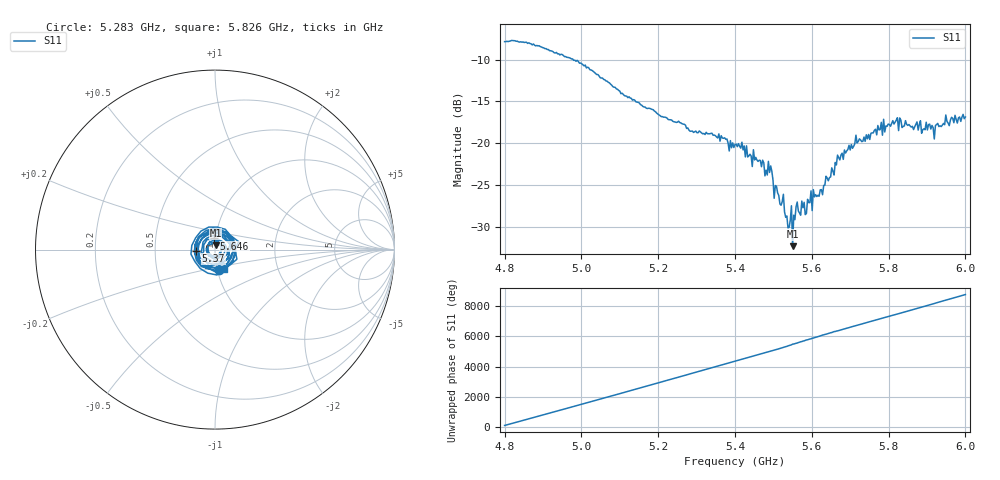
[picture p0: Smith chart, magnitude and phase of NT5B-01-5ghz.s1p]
! NanoVNA-App
! Date: 2026-05-25 01:51:51
! Start: 4.8GHz Stop: 6GHz Points: 401
! S-Parameter data: F S11
# Hz S RI R 50
!  Frequency  S11_Real  S11_Imag
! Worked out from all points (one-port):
!   401 points, 4.8 GHz to 6 GHz, reference 50 ohm
!   lowest |S11| = -32.3 dB at 5.55 GHz (marker M1), VSWR 1.05, Z = 50.2 + j2.41 ohm
!   |S11| at or under -10 dB: 4.979 GHz to end of sweep
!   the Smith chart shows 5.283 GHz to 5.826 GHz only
!   S11 on the Smith chart (normalised r, x): 5.283 GHz: 1.02, -0.24; 5.37 GHz: 0.81, -0.01; 5.646 GHz: 0.98, +0.12; 5.826 GHz: 1.08, -0.24
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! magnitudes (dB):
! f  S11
! 4.8 GHz  -7.8
! 4.86 GHz  -8.1
! 4.95 GHz  -9.4
! 5.004 GHz  -10.6
! 5.1 GHz  -13.8
! 5.25 GHz  -17.5
! 5.283 GHz  -18.6
! 5.37 GHz  -19.4
! 5.4 GHz  -20.2
! 5.493 GHz  -22.7
! 5.505 GHz  -25.1
! 5.529 GHz  -28.2
! 5.535 GHz  -28.7
! 5.541 GHz  -30.1
! 5.544 GHz  -29.2
! 5.55 GHz  -32.3
! 5.556 GHz  -29.2
! 5.559 GHz  -27.6
! 5.589 GHz  -26.7
! 5.604 GHz  -25.6
! 5.622 GHz  -25.6
! 5.646 GHz  -24.1
! 5.673 GHz  -22.0
! 5.7 GHz  -20.8
! 5.826 GHz  -18.5
! 5.85 GHz  -17.9
! 5.916 GHz  -18.1
! 6 GHz  -16.9
